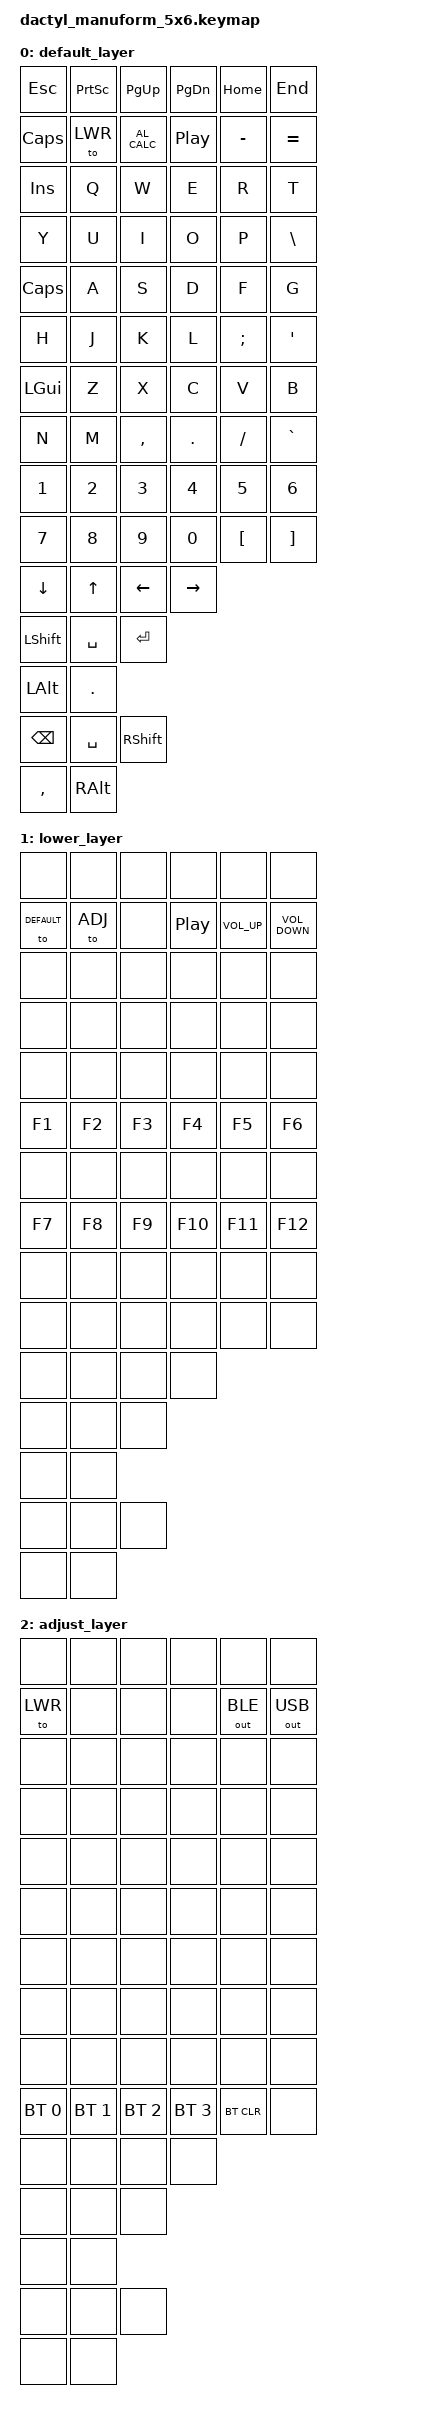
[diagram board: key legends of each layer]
#include <behaviors.dtsi>
#include <dt-bindings/zmk/keys.h>
#include <dt-bindings/zmk/bt.h>
#include <dt-bindings/zmk/outputs.h>

#define DEFAULT 0
#define LWR 1
#define ADJ 2

// ============================================================
// LAYOUT REFERENCE (per side, left shown, right is mirror)
//
// ┌──────┬──────┬──────┬──────┬──────┬──────┐
// │ 0.0  │ 0.1  │ 0.2  │ 0.3  │ 0.4  │ 0.5  │  
// ├──────┼──────┼──────┼──────┼──────┼──────┤
// │ 1.0  │ 1.1  │ 1.2  │ 1.3  │ 1.4  │ 1.5  │
// ├──────┼──────┼──────┼──────┼──────┼──────┤
// │ 2.0  │ 2.1  │ 2.2  │ 2.3  │ 2.4  │ 2.5  │
// ├──────┼──────┼──────┼──────┼──────┼──────┤
// │ 3.0  │ 3.1  │ 3.2  │ 3.3  │ 3.4  │ 3.5  │
// ├──────┼──────┼──────┼──────┼──────┼──────┤
// │ 4.0  │ 4.1  │ 4.2  │ 4.3  │ 4.4  │ 4.5  │  
// └──────┴──────┴──┬───┴──┬───┴──────┴──────┘
//                  │ 5.2  │ 5.3  │          
//                  └──────┴──────┘
//
// Thumb cluster (left):
//   LTHMB.1=RC(5,5)   LTHMB.0=RC(6,5)
//   LTHMB.2=RC(4,4)   ← wired into row 4 col 4 (already in main grid)
//   LTHMB.3=RC(6,1)   LTHMB.4=RC(6,0)
//
// Thumb cluster (right):
//   RTHMB.1=RC(5,11)  RTHMB.0=RC(6,11)
//   RTHMB.2=RC(4,10)  ← wired into row 4 col 10 (already in main grid)
//   RTHMB.3=RC(6,7)   RTHMB.4=RC(6,6)
//
// Matrix binding order matches transform map order exactly:
//   1. Rows 0-4, all 12 cols (60 keys × 2 halves = 120... actually 60 total across both)
//   2. Row 5 extra keys: RC(5,2) RC(5,3)  RC(5,8) RC(5,9)
//   3. Left thumbs:  RC(5,5) RC(6,5)  RC(6,1) RC(6,0)
//   4. Right thumbs: RC(5,11) RC(6,11)  RC(6,7) RC(6,6)
// ============================================================

/ {
    keymap {
        compatible = "zmk,keymap";

        default_layer {
            bindings = <
// ------------------------ ROW 0 — nav row ----------------------------------
// Left half (col 0→5)
   &kp ESC    &kp PSCRN  &kp PG_UP  &kp PG_DN  &kp HOME   &kp END 
// Right half (col 6→11)
   &kp CAPS   &to LWR    &kp C_AL_CALC   &kp C_PP  &kp MINUS  &kp EQUAL
// ------------------------ ROW 1 — QWERTY ─----------------------------------
   &kp INS   &kp Q      &kp W      &kp E      &kp R      &kp T
   &kp Y     &kp U      &kp I      &kp O      &kp P      &kp BSLH
// ------------------------ ROW 2 — home row----------------------------------
   &kp CAPS  &kp A      &kp S      &kp D      &kp F      &kp G
   &kp H     &kp J      &kp K      &kp L      &kp SEMI   &kp SQT
// ------------------------ ROW 3 — bottom -----------------------------------
   &kp LGUI  &kp Z      &kp X      &kp C      &kp V      &kp B
   &kp N      &kp M     &kp COMMA  &kp DOT    &kp SLASH  &kp GRAVE
// ------------------------ ROW 4 — number -----------------------------------
// Note: col 4 on each side = THMB.2 (physically a thumb key but wired here)
   &kp N1     &kp N2     &kp N3     &kp N4     &kp N5     &kp N6
   &kp N7     &kp N8     &kp N9     &kp N0     &kp LBKT   &kp RBKT
// ------------------------ ROW 5 — extra middle Keys ------------------------
// Left: RC(5,2)  RC(5,3)                       Right: RC(5,8) RC(5,9)
   &kp DOWN       &kp UP                        &kp LEFT       &kp RIGHT
// ------------------------ THUMB CLUSTERS -----------------------------------
// Left thumbs:
   &kp LSHFT    &kp SPACE   &kp ENTER
   &kp LALT   &kp PERIOD

// Right thumbs:
   &kp BACKSPACE   &kp SPACE   &kp RSHFT  
   &kp COMMA    &kp RALT
            >;
        };

        lower_layer {
            bindings = <
// ROW 0
   &none       &none     &none     &none        &none             &none
   &to DEFAULT &to ADJ   &none     &kp C_PP     &kp C_VOLUME_UP   &kp C_VOLUME_DOWN
// ROW 1
   &none     &none     &none     &none     &none     &none
   &none     &none     &none     &none     &none     &none
// ROW 2
   &none     &none     &none     &none     &none     &none
   &kp F1     &kp F2     &kp F3     &kp F4     &kp F5     &kp F6
// ROW 3
   &none     &none     &none     &none     &none     &none
   &kp F7     &kp F8     &kp F9     &kp F10    &kp F11    &kp F12
// ROW 4
   &none     &none     &none     &none     &none     &none
   &none     &none     &none     &none     &none     &none
// ROW 5 extra
   &none     &none     &none     &none

// Left thumb:
   &none    &none   &none
   &none    &none

// Right thumb:
   &none    &none   &none
   &none    &none
            >;
        };

        adjust_layer {
            bindings = <
// ROW 0
   &none    &none    &none    &none    &none    &none
   &to LWR  &none    &none    &none    &out OUT_BLE    &out OUT_USB
// ROW 1
   &none    &none    &none    &none    &none    &none
   &none    &none    &none    &none    &none    &none
// ROW 2
   &none    &none    &none    &none    &none    &none
   &none    &none    &none    &none    &none    &none
// ROW 3
   &none    &none    &none    &none    &none    &none
   &none    &none    &none    &none    &none    &none
// ROW 4
   &none     &none        &none        &none  &none  &none
   &bt BT_SEL 0     &bt BT_SEL 1        &bt BT_SEL 2        &bt BT_SEL 3   &bt BT_CLR  &none
// ROW 5 extra
   &none     &none     &none     &none

// Left thumb:
   &none    &none   &none
   &none    &none

// Right thumb:
   &none    &none   &none
   &none    &none
            >;
        };
    };
};
